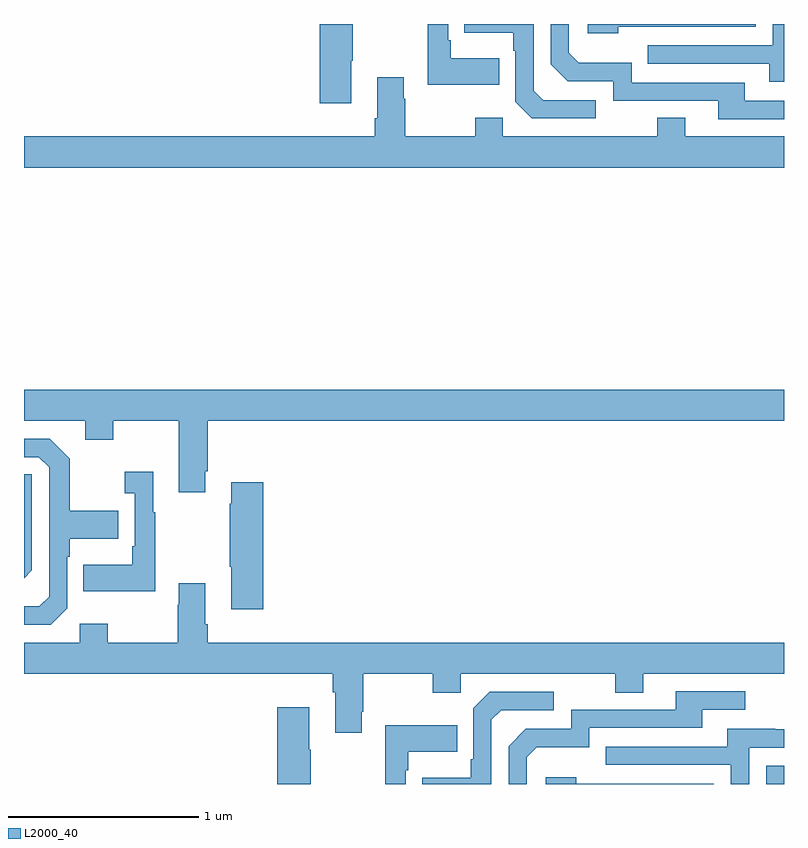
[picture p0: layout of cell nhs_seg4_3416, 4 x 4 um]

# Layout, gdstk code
import gdstk
lib = gdstk.Library(unit=1e-6, precision=1e-09)
def R(c, l, rs):  # rectangles x0, y0, x1, y1
    for r in rs: c.add(gdstk.rectangle(r[:2], r[2:], *l))
def P(c, l, *ps):  # polygons
    for p in ps: c.add(gdstk.Polygon(p, *l))
L2000_40 = (2000, 40)

nhs_seg4_3416 = lib.new_cell('nhs_seg4_3416')
R(nhs_seg4_3416, L2000_40, [(294.906,802.9,295,802.996)])
P(nhs_seg4_3416, L2000_40, [(295,806.9),(294.942,806.9),(294.942,806.787),(294.283,806.787),(294.283,806.691),(294.923,806.691),(294.923,806.597),(295,806.597)],
  [(295,806.496),(294.793,806.496),(294.793,806.592),(294.198,806.592),(294.198,806.695),(293.921,806.695),(293.868,806.748),(293.868,806.9),(293.772,806.9),(293.772,806.688),(293.862,806.598),(294.102,806.598),(294.102,806.496),(294.653,806.496),(294.653,806.4),(295,806.4)],
  [(294.01,806.499),(293.733,806.499),(293.682,806.55),(293.682,806.9),(293.317,806.9),(293.317,806.855),(293.574,806.855),(293.574,806.759),(293.586,806.759),(293.586,806.49),(293.673,806.403),(294.01,806.403)],
  [(294.128,806.886),(294.852,806.886),(294.852,806.9),(293.967,806.9),(293.967,806.852),(294.128,806.852)],
  [(293.501,806.719),(293.245,806.719),(293.245,806.815),(293.232,806.815),(293.232,806.9),(293.124,806.9),(293.124,806.579),(293.501,806.579)],
  [(292.723,806.707),(292.731,806.707),(292.731,806.9),(292.556,806.9),(292.556,806.484),(292.723,806.484)],
  [(295,806.308),(294.481,806.308),(294.481,806.407),(294.334,806.407),(294.334,806.308),(293.52,806.308),(293.52,806.407),(293.374,806.407),(293.374,806.308),(293.007,806.308),(293.007,806.507),(292.999,806.507),(292.999,806.62),(292.859,806.62),(292.859,806.404),(292.847,806.404),(292.847,806.308),(291,806.308),(291,806.144),(295,806.144)],
  [(291.955,804.547),(291.968,804.547),(291.968,804.812),(295,804.812),(295,804.976),(291,804.976),(291,804.812),(291.323,804.812),(291.323,804.713),(291.471,804.713),(291.471,804.812),(291.815,804.812),(291.815,804.435),(291.955,804.435)],
  [(291.228,803.826),(291.228,804.095),(291.241,804.095),(291.241,804.191),(291.497,804.191),(291.497,804.339),(291.241,804.339),(291.241,804.611),(291.135,804.717),(291,804.717),(291,804.621),(291.078,804.621),(291.132,804.567),(291.132,803.886),(291.081,803.835),(291,803.835),(291,803.739),(291.141,803.739)],
  [(291.691,804.331),(291.679,804.331),(291.679,804.544),(291.531,804.544),(291.531,804.431),(291.582,804.431),(291.582,804.151),(291.57,804.151),(291.57,804.055),(291.313,804.055),(291.313,803.915),(291.691,803.915)],
  [(291.042,804.024),(291.042,804.531),(291,804.531),(291,803.982)],
  [(292.259,804.487),(292.091,804.487),(292.091,804.374),(292.084,804.374),(292.084,804.043),(292.091,804.043),(292.091,803.82),(292.259,803.82)],
  [(292.777,803.281),(292.785,803.281),(292.785,803.48),(293.152,803.48),(293.152,803.381),(293.298,803.381),(293.298,803.48),(294.112,803.48),(294.112,803.381),(294.259,803.381),(294.259,803.48),(295,803.48),(295,803.644),(291.968,803.644),(291.968,803.74),(291.955,803.74),(291.955,803.956),(291.815,803.956),(291.815,803.843),(291.808,803.843),(291.808,803.644),(291.441,803.644),(291.441,803.743),(291.294,803.743),(291.294,803.644),(291,803.644),(291,803.48),(292.625,803.48),(292.625,803.384),(292.637,803.384),(292.637,803.169),(292.777,803.169)],
  [(293.646,803.04),(293.699,803.093),(293.976,803.093),(293.976,803.196),(294.571,803.196),(294.571,803.292),(294.796,803.292),(294.796,803.388),(294.431,803.388),(294.431,803.292),(293.88,803.292),(293.88,803.19),(293.64,803.19),(293.55,803.1),(293.55,802.9),(293.646,802.9)],
  [(293.46,803.238),(293.511,803.289),(293.788,803.289),(293.788,803.385),(293.451,803.385),(293.364,803.298),(293.364,803.029),(293.352,803.029),(293.352,802.933),(293.095,802.933),(293.095,802.9),(293.46,802.9)],
  [(292.509,803.081),(292.501,803.081),(292.501,803.305),(292.334,803.305),(292.334,802.9),(292.509,802.9)],
  [(293.01,802.973),(293.023,802.973),(293.023,803.069),(293.279,803.069),(293.279,803.209),(292.902,803.209),(292.902,802.9),(293.01,802.9)],
  [(294.816,803.091),(295,803.091),(295,803.187),(294.955,803.187),(294.955,803.191),(294.701,803.191),(294.701,803.097),(294.061,803.097),(294.061,803.001),(294.72,803.001),(294.72,802.9),(294.816,802.9)],
  [(294.63,802.902),(293.906,802.902),(293.906,802.936),(293.745,802.936),(293.745,802.9),(294.63,802.9)])

lib.write_gds('nhs_seg4_3416.gds')
